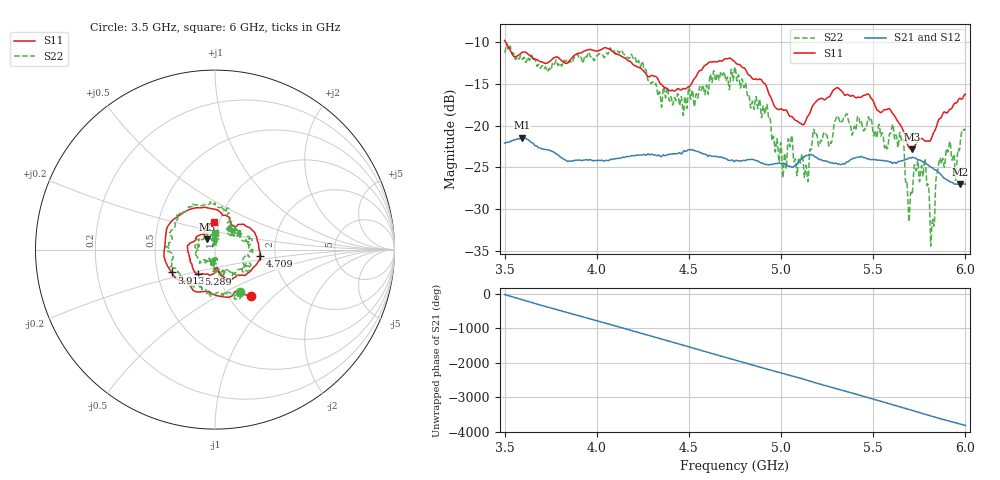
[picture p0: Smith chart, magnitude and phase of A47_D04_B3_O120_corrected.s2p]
! Created with skrf 1.9.0 (http://scikit-rf.org).
# Hz S RI R 50.0
!freq ReS11 ImS11 ReS21 ImS21 ReS12 ImS12 ReS22 ImS22
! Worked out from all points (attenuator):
!   1601 points, 3.5 GHz to 6 GHz, reference 50 ohm
!   highest |S21| = -21.44 dB at 3.594 GHz (marker M1); lowest = -27.0 dB at 5.972 GHz (marker M2)
!   lowest |S11| = -22.8 dB at 5.709 GHz (marker M3), VSWR 1.16, Z = 45.5 + j5.19 ohm
!   |S11| at or under -10 dB: 3.507 GHz to end of sweep
!   |S22| runs from -34.4 to -10.3 dB; largest |S21 - S12| = 0.00098
!   S11 on the Smith chart (normalised r, x): 3.5 GHz: 1.26, -0.72; 3.913 GHz: 0.59, -0.16; 4.709 GHz: 1.66, -0.13; 5.289 GHz: 0.80, -0.23; 6 GHz: 0.95, +0.30
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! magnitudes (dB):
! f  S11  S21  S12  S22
! 3.5 GHz  -9.8  -22.1  -22.1  -11.3
! 3.594 GHz  -11.2  -21.4  -21.4  -11.9
! 3.913 GHz  -11.3  -24.1  -24.1  -11.8
! 3.917 GHz  -11.3  -24.2  -24.1  -12.0
! 4.195 GHz  -12.6  -23.6  -23.6  -11.8
! 4.334 GHz  -14.5  -23.5  -23.5  -16.4
! 4.709 GHz  -12.0  -24.1  -24.0  -14.2
! 4.75 GHz  -12.4  -24.2  -24.1  -12.9
! 5.017 GHz  -18.2  -24.6  -24.5  -23.6
! 5.05 GHz  -18.9  -24.9  -24.9  -22.4
! 5.138 GHz  -19.2  -23.6  -23.5  -25.0
! 5.167 GHz  -17.8  -23.5  -23.5  -22.3
! 5.289 GHz  -15.6  -24.5  -24.5  -19.6
! 5.584 GHz  -18.0  -24.3  -24.3  -21.5
! 5.653 GHz  -20.1  -24.2  -24.1  -21.8
! 5.686 GHz  -22.3  -24.0  -24.0  -28.0
! 5.709 GHz  -22.8  -23.8  -23.7  -28.3
! 5.773 GHz  -21.7  -24.4  -24.3  -25.4
! 5.82 GHz  -21.2  -25.0  -25.0  -31.5
! 5.855 GHz  -19.3  -25.6  -25.5  -24.6
! 5.972 GHz  -16.7  -27.0  -27.0  -22.1
! 6 GHz  -16.2  -27.0  -26.9  -20.6
